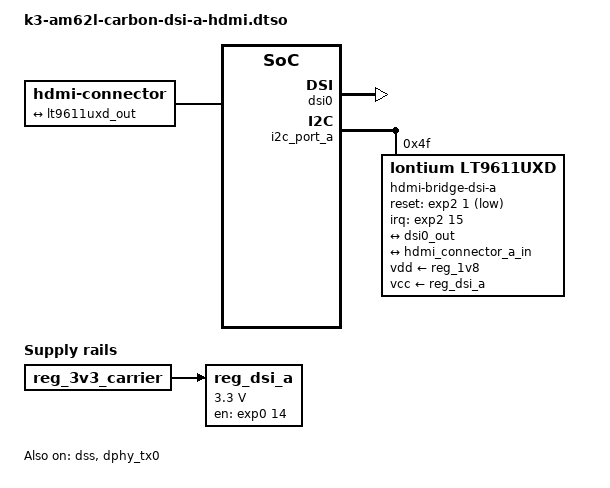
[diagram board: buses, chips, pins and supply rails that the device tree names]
// SPDX-License-Identifier: GPL-2.0-only OR MIT
/*
 * DSI A to HDMI LT9611UXD Expansion Board for Carbon AM62Lx
 *
 * Copyright (C) 2026 Ezurio LLC
 */

/dts-v1/;
/plugin/;

#include <dt-bindings/gpio/gpio.h>
#include <dt-bindings/interrupt-controller/irq.h>

&{/} {
	hdmi-connector-a {
		compatible = "hdmi-connector";
		label = "hdmi";
		type = "a";

		port {
			hdmi_connector_a_in: endpoint {
				remote-endpoint = <&lt9611uxd_out>;
			};
		};
	};

	reg_dsi_a: regulator-dsi-a {
		compatible = "regulator-fixed";
		regulator-name = "reg_dsi_a";
		regulator-min-microvolt = <3300000>;
		regulator-max-microvolt = <3300000>;

		vin-supply = <&reg_3v3_carrier>;

		gpios = <&exp0 14 GPIO_ACTIVE_HIGH>;
		enable-active-high;
		startup-delay-us = <20000>;
		regulator-always-on;
	};
};

&dss {
	status = "okay";
};

&dphy_tx0 {
	status = "okay";
};

&dsi0_out {
	remote-endpoint = <&lt9611uxd_in>;
};

&dsi0 {
	status = "okay";
};

&i2c_port_a {
	#address-cells = <1>;
	#size-cells = <0>;

	hdmi-bridge-dsi-a@4f {
		compatible = "lontium,lt9611uxd";
		reg = <0x4f>;

		reset-gpios = <&exp2 1 GPIO_ACTIVE_LOW>;

		interrupts-extended = <&exp2 15 IRQ_TYPE_EDGE_RISING>;
		interrupt-names = "irq";

		vdd-supply = <&reg_1v8>;
		vcc-supply = <&reg_dsi_a>;

		ports {
			#address-cells = <1>;
			#size-cells = <0>;

			port@0 {
				reg = <0>;

				lt9611uxd_in: endpoint {
					remote-endpoint = <&dsi0_out>;
					data-lanes = <1 2 3 4>;
					clock-lanes = <0>;
				};
			};

			port@2 {
				reg = <2>;

				lt9611uxd_out: endpoint {
					remote-endpoint = <&hdmi_connector_a_in>;
				};
			};
		};
	};
};
